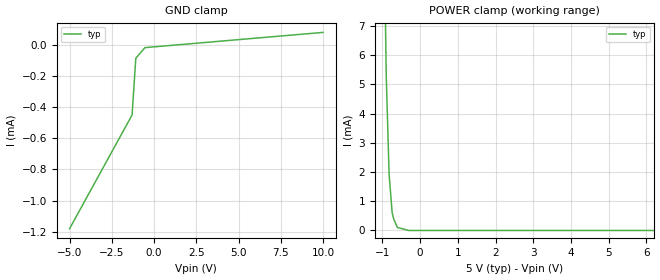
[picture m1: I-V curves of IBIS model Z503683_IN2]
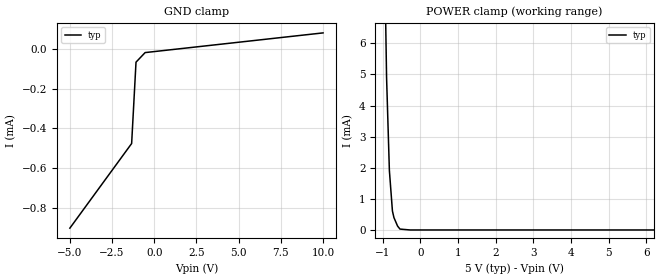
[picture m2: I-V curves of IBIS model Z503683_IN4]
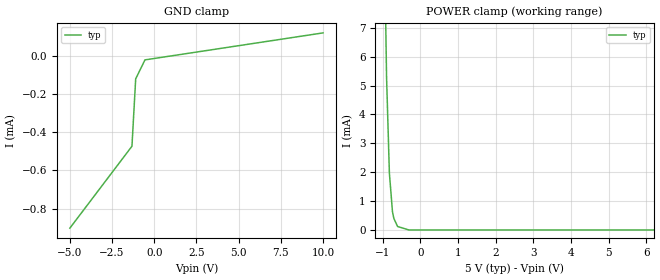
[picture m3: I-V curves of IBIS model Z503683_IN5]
| YOU ARE ONLY AUTHORIZED TO USE THIS SOFTWARE
| ACCORDING TO LICENSOR'S LICENSE RESTRICTIONS.
[IBIS Ver] 3.1
[File Name] mc14569bdw.ibs
[File Rev] 2.0
[Source] Measured and created by ICX Technology
[Date] Friday 7/14/00 9:07:57 AM
[Copyright]
| (C) COPYRIGHT 1993-2000
| MENTOR GRAPHICS CORPORATION
| ICX STANDARD LIBRARY, ICX PROJECT MODELING,
| ICX CUSTOM MODELING, ICX VENDOR MODEL
| ALL RIGHTS RESERVED.
| THE FOLLOWING ARE TRADEMARKS OR SERVICE MARKS OF
| MENTOR GRAPHICS CORPORATION:ICX (R), ICX STANDARD
| LIBRARY(R), ICX PROJECT MODELING(R), ICX CUSTOM
| MODELING(R), qualityIBIS(TM), MODELVIEWER(TM),
| AND MODELEDITOR(TM)
| ALL COPIES OF SOFTWARE, INCLUDING BUT NOT LIMITED TO
| ANY MODIFICATIONS, ENHANCEMENTS OR DERIVATIVE WORKS,
| MUST CONTAIN ALL MENTOR GRAPHICS CORPORATION'S
| NOTICES AND LEGENDS, INCLUDING THOSE EMBEDDED IN
| SOFTWARE AND THOSE AFFIXED TO SOFTWARE MEDIUM
| AND CONTAINER, AS RECEIVED FROM MENTOR GRAPHICS
| CORPORATION.
|  ZAP Model Builder 2.7
[Component] MC14569BDW
[Manufacturer] OnSemiconductor
[Package]
| variable   typ   min   max
R_pkg  .176ohms NA NA
L_pkg  4.193nH NA NA
C_pkg  .603pF NA NA
[Pin] signal_name  model_name  R_pin  L_pin C_pin
1 PEOUT Z503683_OUT1 .182 4.888n .648p
2 CTLA Z503683_IN2 .178 4.418n .618p
3 DPA1 Z503683_IN3 .174 3.958n .588p
4 DPA2 Z503683_IN3 .17 3.508n .558p
5 DPA3 Z503683_IN4 .17 3.508n .558p
6 DPA4 Z503683_IN4 .174 3.958n .588p
7 CF Z503683_IN5 .178 4.418n .618p
8 VSS GND .182 4.888n .648p
9 C Z503683_IN6 .182 4.888n .648p
10 CTLB Z503683_IN2 .178 4.418n .618p
11 DPB1 Z503683_IN7 .174 3.958n .588p
12 DPB2 Z503683_IN7 .17 3.508n .558p
13 DPB3 Z503683_IN8 .17 3.508n .558p
14 DPB4 Z503683_IN8 .174 3.958n .588p
15 Q Z503683_OUT9 .178 4.418n .618p
16 VDD POWER .182 4.888n .648p
| Models and submodels in the file (9): Z503683_IN2 (Input), Z503683_IN3 (Input), Z503683_IN4 (Input), Z503683_IN5 (Input), Z503683_IN6 (Input), Z503683_IN7 (Input), Z503683_IN8 (Input), Z503683_OUT1 (Output), Z503683_OUT9 (Output)
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| (C) COPYRIGHT 1993-2000
| MENTOR GRAPHICS CORPORATION
| ICX STANDARD LIBRARY, ICX PROJECT MODELING,
| ICX CUSTOM MODELING, ICX VENDOR MODEL
| ALL RIGHTS RESERVED.
| THE FOLLOWING ARE TRADEMARKS OR SERVICE MARKS OF
| MENTOR GRAPHICS CORPORATION:ICX (R), ICX STANDARD
| LIBRARY(R), ICX PROJECT MODELING(R), ICX CUSTOM
| MODELING(R), qualityIBIS(TM), MODELVIEWER(TM),
| AND MODELEDITOR(TM)
| ALL COPIES OF SOFTWARE, INCLUDING BUT NOT LIMITED TO
| ANY MODIFICATIONS, ENHANCEMENTS OR DERIVATIVE WORKS,
| MUST CONTAIN ALL MENTOR GRAPHICS CORPORATION'S
| NOTICES AND LEGENDS, INCLUDING THOSE EMBEDDED IN
| SOFTWARE AND THOSE AFFIXED TO SOFTWARE MEDIUM
| AND CONTAINER, AS RECEIVED FROM MENTOR GRAPHICS
| CORPORATION.
| Model Application Version 1.89 2/18/99.
[Model] Z503683_IN2
Model_type Input
Vinl = 1.500V
Vinh = 3.500V
C_comp 5.000pF NA NA
| variable typ   min   max
[Voltage Range] 5.000V NA NA
[GND Clamp Reference] 0.000V NA NA
[POWER Clamp Reference] 5.000V NA NA
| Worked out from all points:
|   POWER clamp passes 1 mA (typ) near -0.77 V on its own axis
[GND Clamp]
-5V       -1.179mA   NA         NA
-1.301V   -450.9uA   NA         NA
-1.081V   -87.63uA   NA         NA
-540.5mV  -19.53uA   NA         NA
10V       78.07uA    NA         NA
[POWER Clamp]
-5V       662.2mA    NA         NA
-1.205V   40.16mA    NA         NA
-1.029V   16.68mA    NA         NA
-899mV    5.261mA    NA         NA
-824mV    1.924mA    NA         NA
-743mV    609uA      NA         NA
-703mV    400uA      NA         NA
-606mV    104.5uA    NA         NA
-303mV    0A         NA         NA
10V       0A         NA         NA
| (C) COPYRIGHT 1993-2000
| MENTOR GRAPHICS CORPORATION
| ICX STANDARD LIBRARY, ICX PROJECT MODELING,
| ICX CUSTOM MODELING, ICX VENDOR MODEL
| ALL RIGHTS RESERVED.
| THE FOLLOWING ARE TRADEMARKS OR SERVICE MARKS OF
| MENTOR GRAPHICS CORPORATION:ICX (R), ICX STANDARD
| LIBRARY(R), ICX PROJECT MODELING(R), ICX CUSTOM
| MODELING(R), qualityIBIS(TM), MODELVIEWER(TM),
| AND MODELEDITOR(TM)
| ALL COPIES OF SOFTWARE, INCLUDING BUT NOT LIMITED TO
| ANY MODIFICATIONS, ENHANCEMENTS OR DERIVATIVE WORKS,
| MUST CONTAIN ALL MENTOR GRAPHICS CORPORATION'S
| NOTICES AND LEGENDS, INCLUDING THOSE EMBEDDED IN
| SOFTWARE AND THOSE AFFIXED TO SOFTWARE MEDIUM
| AND CONTAINER, AS RECEIVED FROM MENTOR GRAPHICS
| CORPORATION.
| Model Application Version 1.89 2/18/99.
[Model] Z503683_IN4
Model_type Input
Vinl = 1.500V
Vinh = 3.500V
C_comp 5.000pF NA NA
| variable typ   min   max
[Voltage Range] 5.000V NA NA
[GND Clamp Reference] 0.000V NA NA
[POWER Clamp Reference] 5.000V NA NA
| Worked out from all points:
|   POWER clamp passes 1 mA (typ) near -0.77 V on its own axis
[GND Clamp]
-5V       -901.5uA   NA         NA
-1.34V    -476.1uA   NA         NA
-1.081V   -67.22uA   NA         NA
-540.5mV  -19.17uA   NA         NA
10V       79.77uA    NA         NA
[POWER Clamp]
-5V       559.6mA    NA         NA
-1.21V    35.32mA    NA         NA
-1.031V   15.04mA    NA         NA
-899mV    4.917mA    NA         NA
-824mV    1.913mA    NA         NA
-743mV    609.5uA    NA         NA
-703mV    397.7uA    NA         NA
-606mV    124.9uA    NA         NA
-542mV    28.48uA    NA         NA
-271mV    0A         NA         NA
10V       0A         NA         NA
| (C) COPYRIGHT 1993-2000
| MENTOR GRAPHICS CORPORATION
| ICX STANDARD LIBRARY, ICX PROJECT MODELING,
| ICX CUSTOM MODELING, ICX VENDOR MODEL
| ALL RIGHTS RESERVED.
| THE FOLLOWING ARE TRADEMARKS OR SERVICE MARKS OF
| MENTOR GRAPHICS CORPORATION:ICX (R), ICX STANDARD
| LIBRARY(R), ICX PROJECT MODELING(R), ICX CUSTOM
| MODELING(R), qualityIBIS(TM), MODELVIEWER(TM),
| AND MODELEDITOR(TM)
| ALL COPIES OF SOFTWARE, INCLUDING BUT NOT LIMITED TO
| ANY MODIFICATIONS, ENHANCEMENTS OR DERIVATIVE WORKS,
| MUST CONTAIN ALL MENTOR GRAPHICS CORPORATION'S
| NOTICES AND LEGENDS, INCLUDING THOSE EMBEDDED IN
| SOFTWARE AND THOSE AFFIXED TO SOFTWARE MEDIUM
| AND CONTAINER, AS RECEIVED FROM MENTOR GRAPHICS
| CORPORATION.
| Model Application Version 1.89 2/18/99.
[Model] Z503683_IN5
Model_type Input
Vinl = 1.500V
Vinh = 3.500V
C_comp 5.000pF NA NA
| variable typ   min   max
[Voltage Range] 5.000V NA NA
[GND Clamp Reference] 0.000V NA NA
[POWER Clamp Reference] 5.000V NA NA
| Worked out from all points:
|   POWER clamp passes 1 mA (typ) near -0.76 V on its own axis
[GND Clamp]
-5V       -902.3uA   NA         NA
-1.321V   -473.7uA   NA         NA
-1.1V     -121.3uA   NA         NA
-550mV    -22.14uA   NA         NA
10V       119uA      NA         NA
[POWER Clamp]
-5V       633.2mA    NA         NA
-1.206V   38.76mA    NA         NA
-1.029V   16.31mA    NA         NA
-899mV    5.299mA    NA         NA
-824mV    1.973mA    NA         NA
-742mV    635.1uA    NA         NA
-704mV    395.8uA    NA         NA
-606mV    120.2uA    NA         NA
-303mV    0A         NA         NA
10V       0A         NA         NA
